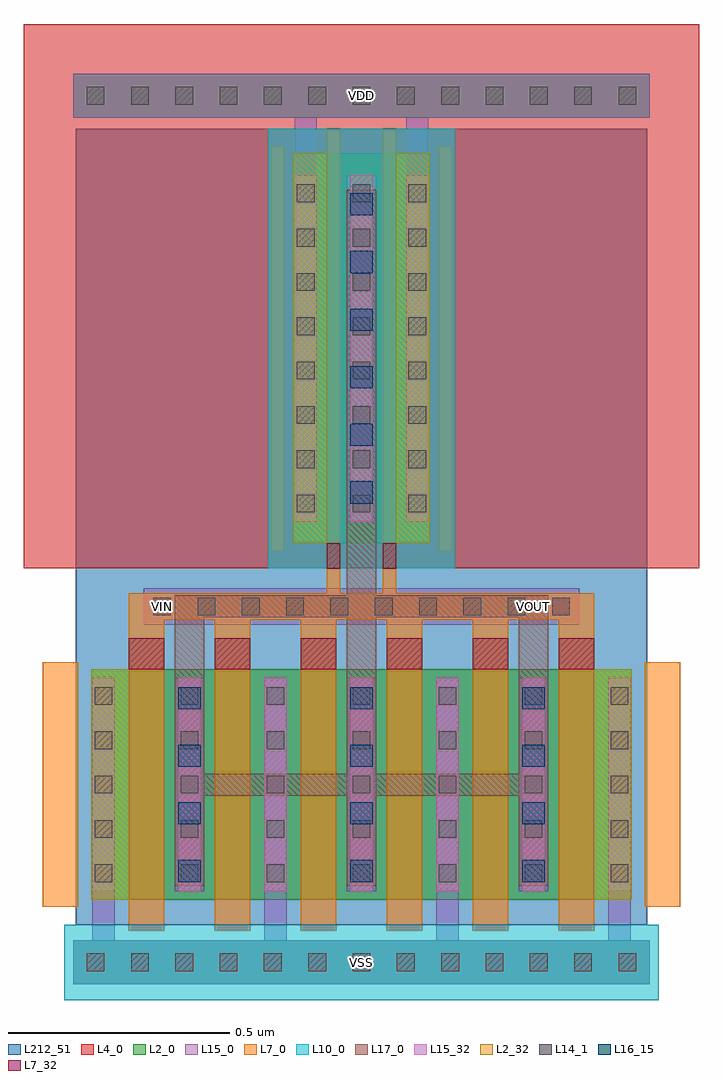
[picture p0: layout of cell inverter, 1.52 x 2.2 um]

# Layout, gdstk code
import gdstk
lib = gdstk.Library(unit=1e-6, precision=1e-09)
def R(c, l, rs):  # rectangles x0, y0, x1, y1
    for r in rs: c.add(gdstk.rectangle(r[:2], r[2:], *l))
def A(c, l, x, y, w, h, nx, ny, dx, dy):  # array of equal rectangles
    R(c, l, [(x+i*dx, y+j*dy, x+i*dx+w, y+j*dy+h) for i in range(nx) for j in range(ny)])
L2_0 = (2, 0)
L2_32 = (2, 32)
L4_0 = (4, 0)
L7_0 = (7, 0)
L7_32 = (7, 32)
L10_0 = (10, 0)
L14_1 = (14, 1)
L15_0 = (15, 0)
L15_32 = (15, 32)
L16_15 = (16, 15)
L17_0 = (17, 0)
L212_51 = (212, 51)

nmosininverter = lib.new_cell('nmosIninverter')
R(nmosininverter, L2_0, [(-0.61,-0.26,0.61,0.26)])
R(nmosininverter, L2_32, [(-0.61,-0.26,-0.525,0.26), (0.525,-0.26,0.61,0.26)])
A(nmosininverter, L7_0, -0.525, -0.33, 0.08, 0.66, 6, 1, 0.194, 0)
R(nmosininverter, L7_0, [(-0.719,-0.276,-0.639,0.276), (0.639,-0.276,0.719,0.276)])
A(nmosininverter, L7_32, -0.525, 0.26, 0.08, 0.07, 6, 1, 0.194, 0)
A(nmosininverter, L14_1, -0.602, -0.22, 0.04, 0.04, 7, 5, 0.194, 0.1)
A(nmosininverter, L15_0, -0.607, -0.241, 0.05, 0.482, 7, 1, 0.194, 0)
A(nmosininverter, L15_32, -0.607, -0.241, 0.05, 0.482, 7, 1, 0.194, 0)
R(nmosininverter, L212_51, [(-0.645,-0.316,0.645,0.316)])

pmosininverter = lib.new_cell('pmosIninverter')
R(pmosininverter, L2_0, [(-0.154,-0.44,0.154,0.44)])
R(pmosininverter, L2_32, [(-0.154,-0.44,-0.078,0.44), (0.078,-0.44,0.154,0.44)])
R(pmosininverter, L7_0, [(-0.078,-0.497,-0.048,0.497), (0.048,-0.497,0.078,0.497), (-0.204,-0.456,-0.174,0.456), (0.174,-0.456,0.204,0.456)])
R(pmosininverter, L7_32, [(-0.078,-0.497,-0.048,-0.44), (0.048,-0.497,0.078,-0.44)])
R(pmosininverter, L10_0, [(-0.21,-0.496,0.21,0.496)])
A(pmosininverter, L14_1, -0.146, -0.37, 0.04, 0.04, 3, 8, 0.126, 0.1)
A(pmosininverter, L15_0, -0.151, -0.391, 0.05, 0.782, 3, 1, 0.126, 0)
A(pmosininverter, L15_32, -0.151, -0.391, 0.05, 0.782, 3, 1, 0.126, 0)
R(pmosininverter, L212_51, [(-0.189,-0.496,0.189,0.496)])

vdd_supplyininverter = lib.new_cell('vdd_supplyIninverter')
R(vdd_supplyininverter, L2_0, [(-0.65,-0.05,0.65,0.05)])
A(vdd_supplyininverter, L14_1, -0.62, -0.02, 0.04, 0.04, 13, 1, 0.1, 0)
R(vdd_supplyininverter, L15_0, [(-0.65,-0.05,0.65,0.05)])

vss_supplyininverter = lib.new_cell('vss_supplyIninverter')
R(vss_supplyininverter, L2_0, [(-0.65,-0.05,0.65,0.05)])
R(vss_supplyininverter, L10_0, [(-0.671,-0.085,0.671,0.085)])
A(vss_supplyininverter, L14_1, -0.62, -0.02, 0.04, 0.04, 13, 1, 0.1, 0)
R(vss_supplyininverter, L15_0, [(-0.65,-0.05,0.65,0.05)])

gate_contactsininverter = lib.new_cell('gate_contactsIninverter')
R(gate_contactsininverter, L7_0, [(-0.48,-0.03,0.48,0.03)])
A(gate_contactsininverter, L14_1, -0.47, -0.02, 0.04, 0.04, 10, 1, 0.1, 0)
R(gate_contactsininverter, L15_0, [(-0.491,-0.041,0.491,0.041)])

nmos_viasininverter = lib.new_cell('nmos_viasIninverter')
R(nmos_viasininverter, L15_0, [(-0.033,-0.228,0.033,0.228)])
A(nmos_viasininverter, L16_15, -0.025, -0.22, 0.05, 0.05, 1, 4, 0, 0.13)
R(nmos_viasininverter, L17_0, [(-0.033,-0.228,0.033,0.228)])

pmos_viasininverter = lib.new_cell('pmos_viasIninverter')
R(pmos_viasininverter, L15_0, [(-0.033,-0.358,0.033,0.358)])
A(pmos_viasininverter, L16_15, -0.025, -0.35, 0.05, 0.05, 1, 6, 0, 0.13)
R(pmos_viasininverter, L17_0, [(-0.033,-0.358,0.033,0.358)])

inverter = lib.new_cell('inverter')
R(inverter, L4_0, [(-0.762,0.72,0.762,1.948), (-0.762,1.713,0.762,1.819)])
R(inverter, L7_0, [(-0.525,0.604,0.525,0.664)])
R(inverter, L10_0, [(-0.236,-0.254,0.236,-0.084)])
A(inverter, L15_0, -0.421, -0.009, 0.066, 0.482, 3, 1, 0.388, 0)
R(inverter, L15_0, [(-0.033,0.825,0.033,1.607)])
R(inverter, L17_0, [(-0.421,0.609,0.421,0.659)])
R(inverter, L212_51, [(-0.645,-0.084,0.645,1.712)])
inverter.add(gdstk.FlexPath([(-0.582,0.232),(-0.582,-0.219)], 0.05, ends="flush", simple_path=True, layer=15, datatype=0))  # L15_0
inverter.add(gdstk.FlexPath([(-0.194,0.232),(-0.194,-0.219)], 0.05, ends="flush", simple_path=True, layer=15, datatype=0))  # L15_0
inverter.add(gdstk.FlexPath([(0.194,0.232),(0.194,-0.219)], 0.05, ends="flush", simple_path=True, layer=15, datatype=0))  # L15_0
inverter.add(gdstk.FlexPath([(0.582,0.232),(0.582,-0.219)], 0.05, ends="flush", simple_path=True, layer=15, datatype=0))  # L15_0
inverter.add(gdstk.FlexPath([(-0.126,1.216),(-0.126,1.836)], 0.05, ends="flush", simple_path=True, layer=15, datatype=0))  # L15_0
inverter.add(gdstk.FlexPath([(0.126,1.216),(0.126,1.836)], 0.05, ends="flush", simple_path=True, layer=15, datatype=0))  # L15_0
inverter.add(gdstk.FlexPath([(-0.388,0.232),(0.388,0.232)], 0.05, ends="flush", simple_path=True, layer=17, datatype=0))  # L17_0
inverter.add(gdstk.FlexPath([(-0.063,1.216),(-0.063,0.634)], 0.03, ends="flush", simple_path=True, layer=7, datatype=0))  # L7_0
inverter.add(gdstk.FlexPath([(0.063,1.216),(0.063,0.634)], 0.03, ends="flush", simple_path=True, layer=7, datatype=0))  # L7_0
inverter.add(gdstk.FlexPath([(-0.485,0.232),(-0.485,0.634)], 0.08, ends="flush", simple_path=True, layer=7, datatype=0))  # L7_0
inverter.add(gdstk.FlexPath([(-0.291,0.232),(-0.291,0.634)], 0.08, ends="flush", simple_path=True, layer=7, datatype=0))  # L7_0
inverter.add(gdstk.FlexPath([(-0.097,0.232),(-0.097,0.634)], 0.08, ends="flush", simple_path=True, layer=7, datatype=0))  # L7_0
inverter.add(gdstk.FlexPath([(0.097,0.232),(0.097,0.634)], 0.08, ends="flush", simple_path=True, layer=7, datatype=0))  # L7_0
inverter.add(gdstk.FlexPath([(0.291,0.232),(0.291,0.634)], 0.08, ends="flush", simple_path=True, layer=7, datatype=0))  # L7_0
inverter.add(gdstk.FlexPath([(0.485,0.232),(0.485,0.634)], 0.08, ends="flush", simple_path=True, layer=7, datatype=0))  # L7_0
inverter.add(gdstk.FlexPath([(0,1.216),(0,0.634)], 0.066, ends="flush", simple_path=True, layer=17, datatype=0))  # L17_0
inverter.add(gdstk.FlexPath([(-0.388,0.232),(-0.388,0.634)], 0.066, ends="flush", simple_path=True, layer=17, datatype=0))  # L17_0
inverter.add(gdstk.FlexPath([(0,0.232),(0,0.634)], 0.066, ends="flush", simple_path=True, layer=17, datatype=0))  # L17_0
inverter.add(gdstk.FlexPath([(0.388,0.232),(0.388,0.634)], 0.066, ends="flush", simple_path=True, layer=17, datatype=0))  # L17_0
inverter.add(gdstk.Reference(nmosininverter, (0,0.232)))
inverter.add(gdstk.Reference(pmosininverter, (0,1.216)))
inverter.add(gdstk.Reference(vdd_supplyininverter, (0,1.786)))
inverter.add(gdstk.Reference(vss_supplyininverter, (0,-0.169)))
inverter.add(gdstk.Reference(gate_contactsininverter, (0,0.634)))
inverter.add(gdstk.Reference(nmos_viasininverter, (-0.388,0.232)))
inverter.add(gdstk.Reference(nmos_viasininverter, (0,0.232)))
inverter.add(gdstk.Reference(nmos_viasininverter, (0.388,0.232)))
inverter.add(gdstk.Reference(pmos_viasininverter, (0,1.216)))
inverter.add(gdstk.Label('VOUT', (0.388,0.634), layer=17, texttype=20))
inverter.add(gdstk.Label('VSS', (0,-0.169), layer=15, texttype=20))
inverter.add(gdstk.Label('VDD', (0,1.786), layer=15, texttype=20))
inverter.add(gdstk.Label('VIN', (-0.45,0.634), layer=15, texttype=20))

lib.write_gds('inverter.gds')
